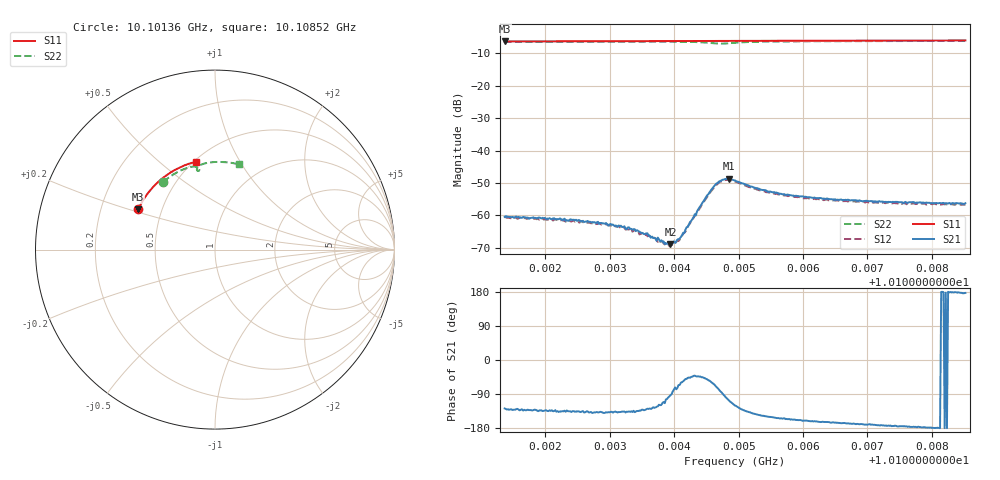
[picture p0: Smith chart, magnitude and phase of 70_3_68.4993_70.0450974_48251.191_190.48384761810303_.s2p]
#  HZ  S  RI  R  50.00
! Rohde & Schwarz Vector Network Analyzer
! Rohde-Schwarz,ZNB20-2Port,1311601062101988,3.16
! Created: UTC 3/20/2024, 5:06:52 PM
! freq[Hz]  re:S11  im:S11  re:S21  im:S21  re:S12  im:S12  re:S22  im:S22
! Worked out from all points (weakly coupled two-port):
!   401 points, 10.10136 GHz to 10.10852 GHz, reference 50 ohm
!   highest |S21| = -48.72 dB at 10.10485 GHz (marker M1); lowest = -69.0 dB at 10.10394 GHz (marker M2)
!   lowest |S11| = -6.3 dB at 10.10136 GHz (marker M3), VSWR 2.87, Z = 18.4 + j10.7 ohm
!   |S11| at or under -10 dB: nowhere
!   |S22| runs from -7.0 to -6.1 dB; largest |S21 - S12| = 0.00039
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1.0101365e10  -0.428 0.2236  -0.000582 -0.000747  -0.000548 -0.000751  -0.2884 0.3779
1.0102564e10  -0.3927 0.2874  -0.000573 -0.000556  -0.000563 -0.000589  -0.2246 0.4229
1.0102904e10  -0.3809 0.3044  -0.000571 -0.000484  -0.000488 -0.000522  -0.2049 0.4336
1.0103405e10  -0.3624 0.3284  -0.000411 -0.000399  -0.000381 -0.000422  -0.1742 0.4478
1.0103494e10  -0.3591 0.3325  -0.000353 -0.000402  -0.00033 -0.000419  -0.1685 0.4502
1.0103584e10  -0.3556 0.3368  -0.000327 -0.000411  -0.000249 -0.000402  -0.1627 0.4523
1.0103673e10  -0.352 0.3409  -0.000252 -0.000365  -0.000238 -0.000391  -0.1565 0.4544
1.0103762e10  -0.3482 0.3449  -0.0002 -0.000376  -0.000159 -0.000376  -0.1505 0.4562
1.0103888e10  -0.3432 0.3506  -7.95e-05 -0.00035  -1.64e-05 -0.000358  -0.1417 0.4588
1.0103941e10  -0.3409 0.3528  -1.89e-05 -0.000354  2.21e-05 -0.000355  -0.1376 0.4599
1.0104031e10  -0.337 0.3568  8.67e-05 -0.000387  0.000133 -0.000366  -0.1308 0.461
1.010412e10  -0.3334 0.3608  0.000257 -0.000421  0.000289 -0.000381  -0.1238 0.4622
1.0104478e10  -0.3178 0.3757  0.0012 -0.00135  0.00126 -0.00116  -0.0933 0.4562
1.0104621e10  -0.3111 0.3814  0.00121 -0.00257  0.00137 -0.00232  -0.0872 0.4448
1.0104729e10  -0.3065 0.3857  0.000336 -0.00341  0.000632 -0.00325  -0.092 0.4381
1.0104854e10  -0.3006 0.3906  -0.00111 -0.00349  -0.000732 -0.00341  -0.1001 0.4425
1.0104943e10  -0.2966 0.3941  -0.00172 -0.00298  -0.00137 -0.00301  -0.1008 0.4505
1.0105176e10  -0.2856 0.403  -0.00208 -0.00187  -0.00187 -0.00195  -0.0886 0.4666
1.010548e10  -0.271 0.414  -0.00201 -0.00117  -0.00183 -0.0013  -0.0666 0.4771
1.0106142e10  -0.2372 0.4359  -0.00177 -0.000607  -0.00163 -0.000727  -0.0208 0.4863
1.0107341e10  -0.1724 0.4681  -0.00159 -0.00018  -0.00151 -0.000334  0.0581 0.4871
1.0108522e10  -0.1045 0.4901  -0.00153 8.22e-05  -0.00146 -7.83e-05  0.1327 0.4749
